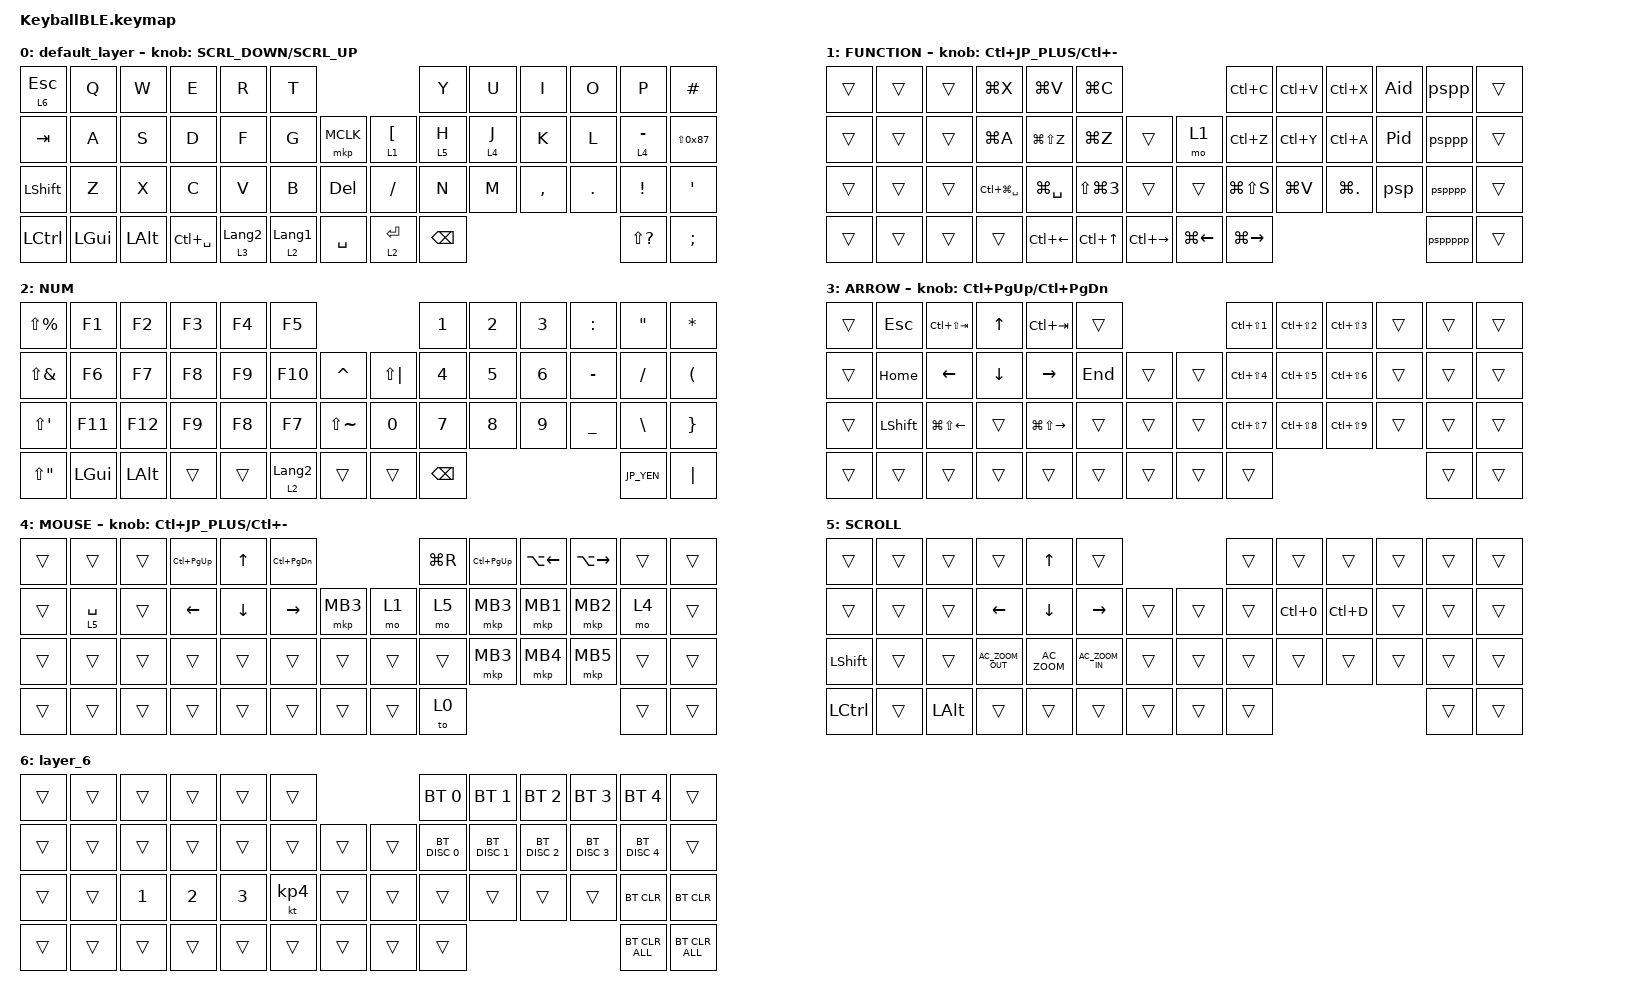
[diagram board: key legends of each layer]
#define ZMK_POINTING_DEFAULT_SCRL_VAL 120    // default: 10

#include <behaviors.dtsi>
#include <dt-bindings/zmk/bt.h>
#include <dt-bindings/zmk/keys.h>
#include <dt-bindings/zmk/pointing.h>

#define MOUSE 4
#define SCROLL 5
#define NUM 6

// OS設定を日本語キーボードのまま使用するための変換定義

#define JP_DQUOTE       AT                // "
#define JP_AMPERSAND    CARET             // &
#define JP_QUOTE        AMPERSAND         // '
#define JP_EQUAL        UNDER             // =
#define JP_CARET        EQUAL             // ^
#define JP_YEN          0x89              // ¥
#define JP_PLUS         COLON             // +
#define JP_TILDE        PLUS              // ~
#define JP_PIPE         LS(0x89)          // |
#define JP_AT           LEFT_BRACKET      // @
#define JP_COLON        SINGLE_QUOTE      // :
#define JP_ASTERISK     DOUBLE_QUOTES     // *
#define JP_BACKQUOTE    LEFT_BRACE        // `
#define JP_UNDERSCORE   LS(0x87)          // _
#define JP_LBRACKET     RIGHT_BRACKET     // [
#define JP_RBRACKET     BACKSLASH         // ]
#define JP_LPAREN       ASTERISK          // (
#define JP_RPAREN       LEFT_PARENTHESIS  // )
#define JP_LBRACE       RIGHT_BRACE       // {
#define JP_RBRACE       PIPE              // }
#define JP_KANA         LANGUAGE_1        // かな
#define JP_EISU         LANGUAGE_2        // 英数
#define JP_HANZEN       GRAVE             // 半角/全角

&mt {
    flavor = "balanced";
    quick-tap-ms = <0>;
};

/ {
    combos {
        compatible = "zmk,combos";

        scroll {
            bindings = <&mo 5>;
            key-positions = <23 22>;
        };
    };

    macros {
        to_layer_0: to_layer_0 {
            compatible = "zmk,behavior-macro-one-param";
            #binding-cells = <1>;
            bindings = <&to 0 &macro_param_1to1 &kp MACRO_PLACEHOLDER>;
            label = "TO_LAYER_0";
        };

        psp: psp {
            compatible = "zmk,behavior-macro";
            #binding-cells = <0>;
            bindings = <&kp LS(A) &kp H &kp N1 &kp N1 &kp N3 &kp N1 &kp N6 &kp N3 &kp JP_PLUS>;
            label = "PSP";
        };

        Aid: Aid {
            compatible = "zmk,behavior-macro";
            #binding-cells = <0>;
            bindings = <&kp LS(A) &kp N9 &kp N4 &kp N0 &kp N8 &kp N8 &kp N7 &kp N6>;
            label = "AID";
        };

        Pid: Pid {
            compatible = "zmk,behavior-macro";
            #binding-cells = <0>;
            bindings = <&kp LS(P) &kp LS(I) &kp LS(T) &kp N0 &kp N2 &kp N0 &kp N4 &kp N5>;
            label = "PID";
        };

        pspp: pspp {
            compatible = "zmk,behavior-macro";
            #binding-cells = <0>;
            bindings = <&kp LS(A) &kp H &kp N1 &kp N1 &kp N3 &kp N1 &kp N6 &kp N3 &kp JP_PLUS &kp JP_PLUS>;
            label = "PSPP";
        };

        psppp: psppp {
            compatible = "zmk,behavior-macro";
            #binding-cells = <0>;
            bindings = <&kp LS(A) &kp H &kp N1 &kp N1 &kp N3 &kp N1 &kp N6 &kp N3 &kp JP_PLUS &kp JP_PLUS &kp JP_PLUS>;
            label = "PSPPP";
        };

        pspppp: pspppp {
            compatible = "zmk,behavior-macro";
            #binding-cells = <0>;
            bindings = <&kp LS(A) &kp H &kp N1 &kp N1 &kp N3 &kp N1 &kp N6 &kp N3 &kp JP_PLUS &kp JP_PLUS &kp JP_PLUS &kp JP_PLUS>;
            label = "PSPPPP";
        };

        psppppp: psppppp {
            compatible = "zmk,behavior-macro";
            #binding-cells = <0>;
            bindings = <&kp LS(A) &kp H &kp N1 &kp N1 &kp N3 &kp N1 &kp N6 &kp N3 &kp JP_PLUS &kp JP_PLUS &kp JP_PLUS &kp JP_PLUS &kp JP_PLUS>;
            label = "PSPPPPP";
        };

        sc: scroll_control {
            compatible = "zmk,behavior-macro";
            #binding-cells = <0>;
            bindings =
                <&macro_press>,
                <&mo 5 &kp LCTRL>,
                <&macro_pause_for_release>,
                <&macro_release>,
                <&kp LCTRL &mo 5>;

            label = "Scroll Ctrl";
        };
    };

    behaviors {
        lt_to_layer_0: lt_to_layer_0 {
            compatible = "zmk,behavior-hold-tap";
            label = "LAYER_TAP_TO_0";
            bindings = <&mo>, <&to_layer_0>;

            #binding-cells = <2>;
            tapping-term-ms = <200>;
        };

        ROTATE: ROTATE {
            compatible = "zmk,behavior-sensor-rotate-var";
            label = "ROTATE";
            #sensor-binding-cells = <2>;
            bindings = <&msc>, <&msc>;

            tap-ms = <20>;
        };

        zp: zoom_tap {
            compatible = "zmk,behavior-hold-tap";
            label = "Zoom / Tap";
            #binding-cells = <2>;
            bindings = <&sc>, <&kp>;

            tapping-term-ms = <200>;
            flavor = "balanced";
            hold-while-undecided;
        };
    };

    keymap {
        compatible = "zmk,keymap";

        default_layer {
            bindings = <
&lt 6 ESC  &kp Q     &kp W     &kp E          &kp R             &kp T                                                   &kp Y          &kp U               &kp I      &kp O    &kp P             &kp HASH
&kp TAB    &kp A     &kp S     &kp D          &kp F             &kp G             &mkp MCLK     &lt_to_layer_0 1 JP_AT  &lt 5 H        &lt_to_layer_0 4 J  &kp K      &kp L    &lt 4 MINUS       &kp JP_UNDERSCORE
&kp LSHFT  &kp Z     &kp X     &kp C          &kp V             &kp B             &kp DELETE    &kp SLASH               &kp N          &kp M               &kp COMMA  &kp DOT  &kp EXCLAMATION   &kp JP_COLON
&kp LCTRL  &kp LGUI  &kp LALT  &kp LC(SPACE)  &lt 3 LANGUAGE_2  &lt 2 LANGUAGE_1  &kp SPACE     &lt_to_layer_0 2 ENTER  &kp BACKSPACE                                          &kp LS(QUESTION)  &kp SEMICOLON
            >;

            sensor-bindings = <&ROTATE SCRL_DOWN SCRL_UP>;
        };

        FUNCTION {
            bindings = <
&trans  &trans  &trans  &kp LG(X)          &kp LG(V)           &kp LG(C)                                                        &kp LC(C)      &kp LC(V)  &kp LC(X)    &Aid  &pspp     &trans
&trans  &trans  &trans  &kp LG(A)          &kp LG(LS(Z))       &kp LG(Z)             &trans                 &mo 1               &kp LC(Z)      &kp LC(Y)  &kp LC(A)    &Pid  &psppp    &trans
&trans  &trans  &trans  &kp LC(LG(SPACE))  &kp LG(SPACE)       &kp LS(LG(NUMBER_3))  &trans                 &trans              &kp LG(LS(S))  &kp LG(V)  &kp LG(DOT)  &psp  &pspppp   &trans
&trans  &trans  &trans  &trans             &kp LC(LEFT_ARROW)  &kp LC(UP_ARROW)      &kp LC(RIGHT_ARROW)    &kp LG(LEFT_ARROW)  &kp LG(RIGHT)                                &psppppp  &trans
            >;

            sensor-bindings = <&inc_dec_kp LC(JP_PLUS) LC(MINUS)>;
        };

        NUM {
            bindings = <
&kp LS(PRCNT)  &kp F1        &kp F2        &kp F3  &kp F4  &kp F5                                                      &kp N1    &kp N2  &kp N3  &kp JP_PLUS   &kp JP_ASTERISK  &kp JP_LPAREN
&kp LS(AMPS)   &kp F6        &kp F7        &kp F8  &kp F9  &kp F10                      &kp CARET        &kp LS(PIPE)  &kp N4    &kp N5  &kp N6  &kp MINUS     &kp FSLH         &kp JP_RPAREN
&kp LS(SQT)    &kp F11       &kp F12       &kp F9  &kp F8  &kp F7                       &kp LS(TILDE)    &kp N0        &kp N7    &kp N8  &kp N9  &kp JP_EQUAL  &kp BACKSLASH    &kp JP_LBRACE
&kp LS(DQT)    &kp LEFT_GUI  &kp LEFT_ALT  &trans  &trans  &lt_to_layer_0 2 LANGUAGE_2  &trans           &trans        &kp BSPC                                &kp JP_YEN       &kp JP_RBRACE
            >;
        };

        ARROW {
            bindings = <
&trans  &kp ESCAPE      &kp LC(LS(TAB))         &kp UP_ARROW    &kp LC(TAB)              &trans                     &kp LC(LS(NUMBER_1))  &kp LC(LS(NUMBER_2))  &kp LC(LS(N3))  &trans  &trans  &trans
&trans  &kp HOME        &kp LEFT_ARROW          &kp DOWN_ARROW  &kp RIGHT_ARROW          &kp END  &trans    &trans  &kp LC(LS(N4))        &kp LC(LS(N5))        &kp LC(LS(N6))  &trans  &trans  &trans
&trans  &kp LEFT_SHIFT  &kp LG(LS(LEFT_ARROW))  &trans          &kp LG(LS(RIGHT_ARROW))  &trans   &trans    &trans  &kp LC(LS(N7))        &kp LC(LS(N8))        &kp LC(LS(N9))  &trans  &trans  &trans
&trans  &trans          &trans                  &trans          &trans                   &trans   &trans    &trans  &trans                                                              &trans  &trans
            >;

            sensor-bindings = <&inc_dec_kp LC(PAGE_UP) LC(PAGE_DOWN)>;
        };

        MOUSE {
            bindings = <
&trans  &trans       &trans  &kp LC(PAGE_UP)  &kp UP_ARROW    &kp LC(PAGE_DOWN)                      &kp LG(R)  &kp LC(PAGE_UP)  &kp LA(LEFT_ARROW)  &kp LA(RIGHT_ARROW)  &trans  &trans
&trans  &lt 5 SPACE  &trans  &kp LEFT_ARROW   &kp DOWN_ARROW  &kp RIGHT_ARROW    &mkp MB3    &mo 1   &mo 5      &mkp MB3         &mkp MB1            &mkp MB2             &mo 4   &trans
&trans  &trans       &trans  &trans           &trans          &trans             &trans      &trans  &trans     &mkp MB3         &mkp MB4            &mkp MB5             &trans  &trans
&trans  &trans       &trans  &trans           &trans          &trans             &trans      &trans  &to 0                                                                &trans  &trans
            >;

            sensor-bindings = <&inc_dec_kp LC(JP_PLUS) LC(MINUS)>;
        };

        SCROLL {
            bindings = <
&trans            &trans  &trans    &trans             &kp UP_ARROW    &trans                              &trans  &trans      &trans     &trans  &trans  &trans
&trans            &trans  &trans    &kp LEFT_ARROW     &kp DOWN_ARROW  &kp RIGHT_ARROW   &trans    &trans  &trans  &kp LC(N0)  &kp LC(D)  &trans  &trans  &trans
&kp LSHFT         &trans  &trans    &kp C_AC_ZOOM_OUT  &kp C_AC_ZOOM   &kp C_AC_ZOOM_IN  &trans    &trans  &trans  &trans      &trans     &trans  &trans  &trans
&kp LEFT_CONTROL  &trans  &kp LALT  &trans             &trans          &trans            &trans    &trans  &trans                                 &trans  &trans
            >;
        };

        layer_6 {
            bindings = <
&trans  &trans  &trans        &trans        &trans        &trans                       &bt BT_SEL 0   &bt BT_SEL 1   &bt BT_SEL 2   &bt BT_SEL 3   &bt BT_SEL 4    &trans
&trans  &trans  &trans        &trans        &trans        &trans     &trans    &trans  &bt BT_DISC 0  &bt BT_DISC 1  &bt BT_DISC 2  &bt BT_DISC 3  &bt BT_DISC 4   &trans
&trans  &trans  &kp NUMBER_1  &kp NUMBER_2  &kp NUMBER_3  &kt KP_N4  &trans    &trans  &trans         &trans         &trans         &trans         &bt BT_CLR      &bt BT_CLR
&trans  &trans  &trans        &trans        &trans        &trans     &trans    &trans  &trans                                                      &bt BT_CLR_ALL  &bt BT_CLR_ALL
            >;
        };
    };
};
